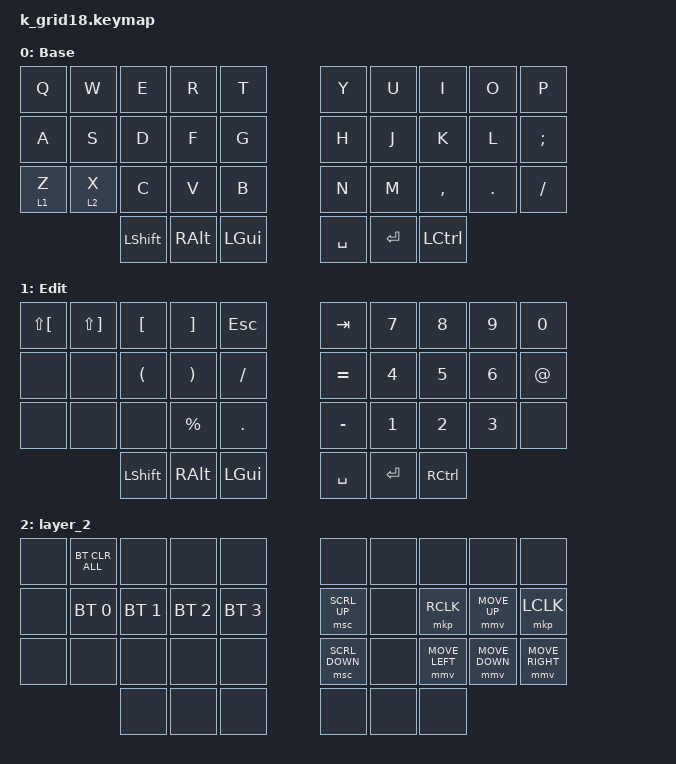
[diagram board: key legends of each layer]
#include <behaviors.dtsi>
#include <dt-bindings/zmk/bt.h>
#include <dt-bindings/zmk/keys.h>
#include <dt-bindings/zmk/pointing.h>

/ {
    combos {
        compatible = "zmk,combos";

        BS {
            bindings = <&kp BACKSPACE>;
            key-positions = <34 33>;
        };

        kanaE {
            bindings = <&kp LC(SPACE)>;
            key-positions = <32 31>;
        };

        ss {
            bindings = <&kp LG(LS(NUMBER_4))>;
            key-positions = <4 3>;
        };
    };

    keymap {
        compatible = "zmk,keymap";

        default_layer {
            display-name = "Base";
            bindings = <
&kp Q    &kp W    &kp E           &kp R     &kp T     &kp Y      &kp U      &kp I      &kp O    &kp P
&kp A    &kp S    &kp D           &kp F     &kp G     &kp H      &kp J      &kp K      &kp L    &kp SEMI
&lt 1 Z  &lt 2 X  &kp C           &kp V     &kp B     &kp N      &kp M      &kp COMMA  &kp DOT  &kp FSLH
                  &kp LEFT_SHIFT  &kp RALT  &kp LGUI  &kp SPACE  &kp ENTER  &kp LCTRL
            >;
        };

        layer_1 {
            display-name = "Edit";
            bindings = <
&kp LS(LEFT_BRACKET)  &kp LS(RIGHT_BRACKET)  &kp LBKT        &kp RBKT     &kp ESC    &kp TAB    &kp N7     &kp N8     &kp N9  &kp N0
&none                 &none                  &kp LPAR        &kp RPAR     &kp SLASH  &kp EQUAL  &kp N4     &kp N5     &kp N6  &kp AT
&none                 &none                  &none           &kp PERCENT  &kp DOT    &kp MINUS  &kp N1     &kp N2     &kp N3  &none
                                             &kp LEFT_SHIFT  &kp RALT     &kp LGUI   &kp SPACE  &kp ENTER  &kp RCTRL
            >;
        };

        layer_2 {
            bindings = <
&none  &bt BT_CLR_ALL  &none         &none         &none         &none           &none  &none           &none           &none
&none  &bt BT_SEL 0    &bt BT_SEL 1  &bt BT_SEL 2  &bt BT_SEL 3  &msc SCRL_UP    &none  &mkp RCLK       &mmv MOVE_UP    &mkp LCLK
&none  &none           &none         &none         &none         &msc SCRL_DOWN  &none  &mmv MOVE_LEFT  &mmv MOVE_DOWN  &mmv MOVE_RIGHT
                       &none         &none         &none         &none           &none  &none
            >;
        };
    };
};
